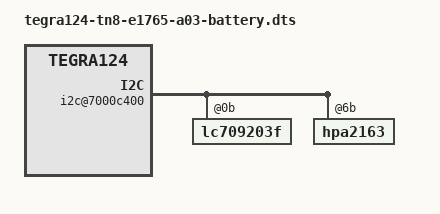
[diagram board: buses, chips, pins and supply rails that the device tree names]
#include "tegra124-tn8-e1765-a03.dts"
#include "tegra124-platforms/tegra124-tn8-usb-devices.dtsi"

/ {
	nvidia,dtsfilename = __FILE__;

	i2c@7000c400 {
		lc709203f@0b {
			status = "okay";
		};

		hpa2163@6b {
			charger {
				status = "okay";
			};
		};
	};
};
